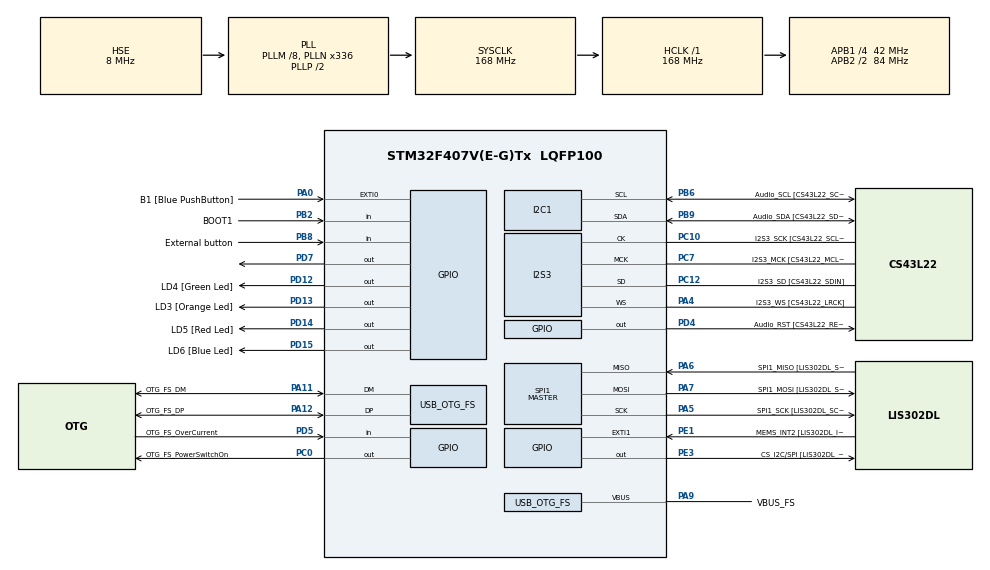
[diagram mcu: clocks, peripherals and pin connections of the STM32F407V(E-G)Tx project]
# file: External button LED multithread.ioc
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FREERTOS.Tasks01=defaultTask,24,128,StartDefaultTask,Default,NULL,Dynamic,NULL,NULL
FREERTOS.configUSE_NEWLIB_REENTRANT=1
I2S3.AudioFreq-Half_Duplex_Master=I2S_AUDIOFREQ_96K
I2S3.ErrorAudioFreq=-2.34 %
I2S3.ErrorAudioFreq-Half_Duplex_Master=0.8 %
I2S3.FullDuplexMode=I2S_FULLDUPLEXMODE_DISABLE
I2S3.Instance=SPI$Index
I2S3.RealAudioFreq=93.75 KHz
I2S3.RealAudioFreq-Half_Duplex_Master=96.774 KHz
I2S3.VirtualMode=I2S_MODE_MASTER
Mcu.Family=STM32F4
Mcu.Name=STM32F407V(E-G)Tx
Mcu.Package=LQFP100
NVIC.OTG_FS_IRQn=true\:5\:0\:false\:false\:true\:true\:true\:true\:true
NVIC.PriorityGroup=NVIC_PRIORITYGROUP_4
NVIC.TIM6_DAC_IRQn=true\:15\:0\:false\:false\:true\:false\:false\:true\:true
NVIC.TimeBase=TIM6_DAC_IRQn
NVIC.TimeBaseIP=TIM6
PA0-WKUP.GPIO_Label=B1 [Blue PushButton]
PA0-WKUP.GPIO_ModeDefaultEXTI=GPIO_MODE_EVT_RISING
PA0-WKUP.GPIO_PuPd=GPIO_NOPULL
PA0-WKUP.Signal=GPXTI0
PA10.GPIO_Label=OTG_FS_ID
PA10.GPIO_Mode=GPIO_MODE_AF_PP
PA10.GPIO_PuPd=GPIO_NOPULL
PA10.GPIO_Speed=GPIO_SPEED_FREQ_LOW
PA10.Signal=USB_OTG_FS_ID
PA11.GPIO_Label=OTG_FS_DM
PA11.GPIO_Mode=GPIO_MODE_AF_PP
PA11.GPIO_PuPd=GPIO_NOPULL
PA11.GPIO_Speed=GPIO_SPEED_FREQ_LOW
PA11.Mode=Host_Only
PA11.Signal=USB_OTG_FS_DM
PA12.GPIO_Label=OTG_FS_DP
PA12.GPIO_Mode=GPIO_MODE_AF_PP
PA12.GPIO_PuPd=GPIO_NOPULL
PA12.GPIO_Speed=GPIO_SPEED_FREQ_LOW
PA12.Mode=Host_Only
PA12.Signal=USB_OTG_FS_DP
PA13.GPIO_Label=SWDIO
PA13.Mode=Serial_Wire
PA13.Signal=SYS_JTMS-SWDIO
PA14.GPIO_Label=SWCLK
PA14.Mode=Serial_Wire
PA14.Signal=SYS_JTCK-SWCLK
PA4.GPIO_Label=I2S3_WS [CS43L22_LRCK]
PA4.GPIO_Mode=GPIO_MODE_AF_PP
PA4.GPIO_PuPd=GPIO_NOPULL
PA4.GPIO_Speed=GPIO_SPEED_FREQ_LOW
PA4.Mode=Half_Duplex_Master
PA4.Signal=I2S3_WS
PA5.GPIO_Label=SPI1_SCK [LIS302DL_SCL/SPC]
PA5.GPIO_Mode=GPIO_MODE_AF_PP
PA5.GPIO_PuPd=GPIO_NOPULL
PA5.GPIO_Speed=GPIO_SPEED_FREQ_LOW
PA5.Mode=Full_Duplex_Master
PA5.Signal=SPI1_SCK
PA6.GPIO_Label=SPI1_MISO [LIS302DL_SDO]
PA6.GPIO_Mode=GPIO_MODE_AF_PP
PA6.GPIO_PuPd=GPIO_NOPULL
PA6.GPIO_Speed=GPIO_SPEED_FREQ_LOW
PA6.Mode=Full_Duplex_Master
PA6.Signal=SPI1_MISO
PA7.GPIO_Label=SPI1_MOSI [LIS302DL_SDA/SDI/SDO]
PA7.GPIO_Mode=GPIO_MODE_AF_PP
PA7.GPIO_PuPd=GPIO_NOPULL
PA7.GPIO_Speed=GPIO_SPEED_FREQ_LOW
PA7.Mode=Full_Duplex_Master
PA7.Signal=SPI1_MOSI
PA9.GPIO_Label=VBUS_FS
PA9.GPIO_Mode=GPIO_MODE_INPUT
PA9.GPIO_PuPd=GPIO_NOPULL
PA9.Mode=Activate_VBUS
PA9.Signal=USB_OTG_FS_VBUS
PB10.GPIO_Label=CLK_IN [MP45DT02_CLK]
PB10.GPIO_Mode=GPIO_MODE_AF_PP
PB10.GPIO_PuPd=GPIO_NOPULL
PB10.GPIO_Speed=GPIO_SPEED_FREQ_LOW
PB10.Signal=I2S2_CK
PB2.GPIO_Label=BOOT1
PB2.GPIO_Mode=GPIO_MODE_INPUT
PB2.GPIO_PuPd=GPIO_NOPULL
PB2.Signal=GPIO_Input
PB3.GPIO_Label=SWO
PB3.Signal=SYS_JTDO-SWO
PB6.GPIO_Label=Audio_SCL [CS43L22_SCL]
PB6.GPIO_Mode=GPIO_MODE_AF_OD
PB6.GPIO_Pu=GPIO_PULLUP
PB6.GPIO_PuPd=GPIO_NOPULL
PB6.GPIO_Speed=GPIO_SPEED_FREQ_LOW
PB6.Mode=I2C
PB6.Signal=I2C1_SCL
PB8.GPIO_Label=External button
PB8.GPIO_PuPd=GPIO_PULLUP
PB8.Signal=GPIO_Input
PB9.GPIO_Label=Audio_SDA [CS43L22_SDA]
PB9.GPIO_Mode=GPIO_MODE_AF_OD
PB9.GPIO_Pu=GPIO_PULLUP
PB9.GPIO_PuPd=GPIO_NOPULL
PB9.GPIO_Speed=GPIO_SPEED_FREQ_LOW
PB9.Mode=I2C
PB9.Signal=I2C1_SDA
PC0.GPIO_Label=OTG_FS_PowerSwitchOn
PC0.GPIO_PuPd=GPIO_NOPULL
PC0.GPIO_Speed=GPIO_SPEED_FREQ_LOW
PC0.PinState=GPIO_PIN_SET
PC0.Signal=GPIO_Output
PC10.GPIO_Label=I2S3_SCK [CS43L22_SCLK]
PC10.GPIO_Mode=GPIO_MODE_AF_PP
PC10.GPIO_PuPd=GPIO_NOPULL
PC10.GPIO_Speed=GPIO_SPEED_FREQ_LOW
PC10.Mode=Half_Duplex_Master
PC10.Signal=I2S3_CK
PC12.GPIO_Label=I2S3_SD [CS43L22_SDIN]
PC12.GPIO_Mode=GPIO_MODE_AF_PP
PC12.GPIO_PuPd=GPIO_NOPULL
PC12.GPIO_Speed=GPIO_SPEED_FREQ_LOW
PC12.Mode=Half_Duplex_Master
PC12.Signal=I2S3_SD
PC14-OSC32_IN.GPIO_Label=PC14-OSC32_IN
PC14-OSC32_IN.Mode=LSE-External-Oscillator
PC14-OSC32_IN.Signal=RCC_OSC32_IN
PC15-OSC32_OUT.GPIO_Label=PC15-OSC32_OUT
PC15-OSC32_OUT.Mode=LSE-External-Oscillator
PC15-OSC32_OUT.Signal=RCC_OSC32_OUT
PC3.GPIO_Label=PDM_OUT [MP45DT02_DOUT]
PC3.GPIO_Mode=GPIO_MODE_AF_PP
PC3.GPIO_PuPd=GPIO_NOPULL
PC3.GPIO_Speed=GPIO_SPEED_FREQ_LOW
PC3.Signal=I2S2_SD
PC7.GPIO_Label=I2S3_MCK [CS43L22_MCLK]
PC7.GPIO_Mode=GPIO_MODE_AF_PP
PC7.GPIO_PuPd=GPIO_NOPULL
PC7.GPIO_Speed=GPIO_SPEED_FREQ_LOW
PC7.Mode=Master_Clock_Activated
PC7.Signal=I2S3_MCK
PD12.GPIO_Label=LD4 [Green Led]
PD12.GPIO_PuPd=GPIO_NOPULL
PD12.GPIO_Speed=GPIO_SPEED_FREQ_LOW
PD12.Signal=GPIO_Output
PD13.GPIO_Label=LD3 [Orange Led]
PD13.GPIO_PuPd=GPIO_NOPULL
PD13.GPIO_Speed=GPIO_SPEED_FREQ_LOW
PD13.Signal=GPIO_Output
PD14.GPIO_Label=LD5 [Red Led]
PD14.GPIO_PuPd=GPIO_NOPULL
PD14.GPIO_Speed=GPIO_SPEED_FREQ_LOW
PD14.Signal=GPIO_Output
PD15.GPIO_Label=LD6 [Blue Led]
PD15.GPIO_PuPd=GPIO_NOPULL
PD15.GPIO_Speed=GPIO_SPEED_FREQ_LOW
PD15.Signal=GPIO_Output
PD4.GPIO_Label=Audio_RST [CS43L22_RESET]
PD4.GPIO_PuPd=GPIO_NOPULL
PD4.GPIO_Speed=GPIO_SPEED_FREQ_LOW
PD4.Signal=GPIO_Output
PD5.GPIO_Label=OTG_FS_OverCurrent
PD5.GPIO_Mode=GPIO_MODE_INPUT
PD5.GPIO_PuPd=GPIO_NOPULL
PD5.Signal=GPIO_Input
PD7.PinState=GPIO_PIN_SET
PD7.Signal=GPIO_Output
PE1.GPIO_Label=MEMS_INT2 [LIS302DL_INT2]
PE1.GPIO_ModeDefaultEXTI=GPIO_MODE_EVT_RISING
PE1.GPIO_PuPd=GPIO_NOPULL
PE1.Signal=GPXTI1
PE3.GPIO_Label=CS_I2C/SPI [LIS302DL_CS_I2C/SPI]
PE3.GPIO_PuPd=GPIO_NOPULL
PE3.GPIO_Speed=GPIO_SPEED_FREQ_LOW
PE3.Signal=GPIO_Output
PH0-OSC_IN.GPIO_Label=PH0-OSC_IN
PH0-OSC_IN.Mode=HSE-External-Oscillator
PH0-OSC_IN.Signal=RCC_OSC_IN
PH1-OSC_OUT.GPIO_Label=PH1-OSC_OUT
PH1-OSC_OUT.Mode=HSE-External-Oscillator
PH1-OSC_OUT.Signal=RCC_OSC_OUT
ProjectManager.HeapSize=0x400
ProjectManager.StackSize=0x800
ProjectManager.TargetToolchain=STM32CubeIDE
RCC.48MHZClocksFreq_Value=48000000
RCC.AHBFreq_Value=168000000
RCC.APB1CLKDivider=RCC_HCLK_DIV4
RCC.APB1Freq_Value=42000000
RCC.APB1TimFreq_Value=84000000
RCC.APB2CLKDivider=RCC_HCLK_DIV2
RCC.APB2Freq_Value=84000000
RCC.APB2TimFreq_Value=168000000
RCC.CortexFreq_Value=168000000
RCC.HCLKFreq_Value=168000000
RCC.HSE_VALUE=8000000
RCC.HSI_VALUE=16000000
RCC.PLLM=8
RCC.PLLN=336
RCC.PLLQ=7
RCC.SYSCLKFreq_VALUE=168000000
RCC.SYSCLKSource=RCC_SYSCLKSOURCE_PLLCLK
RCC.VCOOutputFreq_Value=336000000
SPI1.BaudRatePrescaler-Full_Duplex_Master=SPI_BAUDRATEPRESCALER_2
SPI1.CalculateBaudRate-Full_Duplex_Master=42.0 MBits/s
SPI1.Direction=SPI_DIRECTION_2LINES
SPI1.Mode=SPI_MODE_MASTER
SPI1.Mode-Full_Duplex_Master=SPI_MODE_MASTER
SPI1.VirtualType=VM_MASTER
USB_HOST.BSP.number=1
USB_HOST.USBH_HandleTypeDef-CDC_FS=hUsbHostFS
USB_HOST.VirtualModeFS=Cdc
USB_HOST0.BSP.STBoard=false
USB_HOST0.BSP.api=Unknown
USB_HOST0.BSP.instance=PC0
USB_HOST0.BSP.ip=GPIO
USB_HOST0.BSP.mode=Output
USB_HOST0.BSP.name=Drive_VBUS_FS
USB_HOST0.BSP.solution=PC0
USB_OTG_FS.VirtualMode=Host_Only
USB_OTG_FS.phy_itface=HCD_PHY_EMBEDDED
VP_FREERTOS_VS_CMSIS_V2.Mode=CMSIS_V2
VP_SYS_VS_tim6.Mode=TIM6
VP_USB_HOST_VS_USB_HOST_CDC_FS.Mode=CDC_FS
board=STM32F407G-DISC1

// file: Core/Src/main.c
/* USER CODE BEGIN Header */
/**
 ******************************************************************************
 * @file           : main.c
 * @brief          : Main program body
 ******************************************************************************
 * @attention
 *
 * Copyright (c) 2025 STMicroelectronics.
 * All rights reserved.
 *
 * This software is licensed under terms that can be found in the LICENSE file
 * in the root directory of this software component.
 * If no LICENSE file comes with this software, it is provided AS-IS.
 *
 ******************************************************************************
 */
/* USER CODE END Header */
#include "main.h"
#include "cmsis_os.h"
#include "i2c.h"
#include "i2s.h"
#include "spi.h"
#include "usb_host.h"
#include "gpio.h"

void SystemClock_Config(void);
void MX_FREERTOS_Init(void);

int main(void)
{

  /* MCU Configuration--------------------------------------------------------*/

  /* Reset of all peripherals, Initializes the Flash interface and the Systick. */
  HAL_Init();

  /* Configure the system clock */
  SystemClock_Config();

  /* Initialize all configured peripherals */
  MX_GPIO_Init();
  MX_I2C1_Init();
  MX_I2S3_Init();
  MX_SPI1_Init();

  /* Init scheduler */
  osKernelInitialize();  /* Call init function for freertos objects (in cmsis_os2.c) */
  MX_FREERTOS_Init();

  /* Start scheduler */
  osKernelStart();

  /* We should never get here as control is now taken by the scheduler */

  /* Infinite loop */
    while (1) {

    }
}

void SystemClock_Config(void)
{
  RCC_OscInitTypeDef RCC_OscInitStruct = {0};
  RCC_ClkInitTypeDef RCC_ClkInitStruct = {0};

  /** Configure the main internal regulator output voltage
  */
  __HAL_RCC_PWR_CLK_ENABLE();
  __HAL_PWR_VOLTAGESCALING_CONFIG(PWR_REGULATOR_VOLTAGE_SCALE1);

  /** Initializes the RCC Oscillators according to the specified parameters
  * in the RCC_OscInitTypeDef structure.
  */
  RCC_OscInitStruct.OscillatorType = RCC_OSCILLATORTYPE_HSE;
  RCC_OscInitStruct.HSEState = RCC_HSE_ON;
  RCC_OscInitStruct.PLL.PLLState = RCC_PLL_ON;
  RCC_OscInitStruct.PLL.PLLSource = RCC_PLLSOURCE_HSE;
  RCC_OscInitStruct.PLL.PLLM = 8;
  RCC_OscInitStruct.PLL.PLLN = 336;
  RCC_OscInitStruct.PLL.PLLP = RCC_PLLP_DIV2;
  RCC_OscInitStruct.PLL.PLLQ = 7;
  if (HAL_RCC_OscConfig(&RCC_OscInitStruct) != HAL_OK)
  {
    Error_Handler();
  }

  /** Initializes the CPU, AHB and APB buses clocks
  */
  RCC_ClkInitStruct.ClockType = RCC_CLOCKTYPE_HCLK|RCC_CLOCKTYPE_SYSCLK
                              |RCC_CLOCKTYPE_PCLK1|RCC_CLOCKTYPE_PCLK2;
  RCC_ClkInitStruct.SYSCLKSource = RCC_SYSCLKSOURCE_PLLCLK;
  RCC_ClkInitStruct.AHBCLKDivider = RCC_SYSCLK_DIV1;
  RCC_ClkInitStruct.APB1CLKDivider = RCC_HCLK_DIV4;
  RCC_ClkInitStruct.APB2CLKDivider = RCC_HCLK_DIV2;

  if (HAL_RCC_ClockConfig(&RCC_ClkInitStruct, FLASH_LATENCY_5) != HAL_OK)
  {
    Error_Handler();
  }
}

void HAL_TIM_PeriodElapsedCallback(TIM_HandleTypeDef *htim)
{
  if (htim->Instance == TIM6)
  {
    HAL_IncTick();
  }
}

void Error_Handler(void)
{
  /* USER CODE BEGIN Error_Handler_Debug */
    /* User can add his own implementation to report the HAL error return state
     */
    __disable_irq();
    while (1) {
    }
  /* USER CODE END Error_Handler_Debug */
}
#ifdef USE_FULL_ASSERT
/**
  * @brief  Reports the name of the source file and the source line number
  *         where the assert_param error has occurred.
  * @param  file: pointer to the source file name
  * @param  line: assert_param error line source number
  * @retval None
  */
void assert_failed(uint8_t *file, uint32_t line)
{
  /* USER CODE BEGIN 6 */
    /* User can add his own implementation to report the file name and line
       number, ex: printf("Wrong parameters value: file %s on line %d\r\n",
       file, line) */
  /* USER CODE END 6 */
}
#endif /* USE_FULL_ASSERT */

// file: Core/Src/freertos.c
/* USER CODE BEGIN Header */
/**
 ******************************************************************************
 * File Name          : freertos.c
 * Description        : Code for freertos applications
 ******************************************************************************
 * @attention
 *
 * Copyright (c) 2025 STMicroelectronics.
 * All rights reserved.
 *
 * This software is licensed under terms that can be found in the LICENSE file
 * in the root directory of this software component.
 * If no LICENSE file comes with this software, it is provided AS-IS.
 *
 ******************************************************************************
 */
/* USER CODE END Header */

#include "FreeRTOS.h"

#include <stdbool.h>

#include "cmsis_os.h"
#include "main.h"
#include "task.h"

/* USER CODE BEGIN PD */
#define LED_PORT GPIOD
#define LED_PIN_GREEN GPIO_PIN_12
#define LED_PIN_ORANGE GPIO_PIN_13
#define LED_PIN_RED GPIO_PIN_14
#define LED_PIN_BLUE GPIO_PIN_15
#define LED_PIN_WHITE GPIO_PIN_7

#define BUTTON_PORT GPIOB
#define EXTERNAL_BUTTON_PIN GPIO_PIN_8
/* USER CODE END PD */

/* Definitions for defaultTask */
osThreadId_t defaultTaskHandle;
const osThreadAttr_t defaultTask_attributes = {
    .name = "defaultTask",
    .stack_size = 128 * 4,
    .priority = (osPriority_t)osPriorityNormal,
};

/* USER CODE BEGIN FunctionPrototypes */
osThreadId_t buttonTaskHandle;
const osThreadAttr_t buttonTask_attributes = {
    .name = "buttonTask",
    .stack_size = 128 * 4,
    .priority = (osPriority_t)osPriorityHigh,
};

void pin_on(GPIO_TypeDef* port, uint16_t pin) {
    HAL_GPIO_WritePin(port, pin, GPIO_PIN_SET);
}
void pin_off(GPIO_TypeDef* port, uint16_t pin) {
    HAL_GPIO_WritePin(port, pin, GPIO_PIN_RESET);
}
bool button_pressed(GPIO_TypeDef* port, uint16_t pin) {
    return HAL_GPIO_ReadPin(port, pin) == GPIO_PIN_SET;
}

void StartButtonTask(void* argument);
/* USER CODE END FunctionPrototypes */

void StartDefaultTask(void* argument);

extern void MX_USB_HOST_Init(void);
void MX_FREERTOS_Init(void); /* (MISRA C 2004 rule 8.1) */

void MX_FREERTOS_Init(void) {

    /* Create the thread(s) */
    /* creation of defaultTask */
    defaultTaskHandle =
        osThreadNew(StartDefaultTask, NULL, &defaultTask_attributes);

    /* USER CODE BEGIN RTOS_THREADS */
    /* add threads, ... */
    buttonTaskHandle =
        osThreadNew(StartButtonTask, NULL, &buttonTask_attributes);
    /* USER CODE END RTOS_THREADS */

}

void StartDefaultTask(void* argument) {
    /* init code for USB_HOST */
    MX_USB_HOST_Init();
    /* USER CODE BEGIN StartDefaultTask */
    TickType_t last = xTaskGetTickCount();
    const TickType_t period = pdMS_TO_TICKS(500);
    /* Infinite loop */
    for (;;) {
        pin_on(LED_PORT, LED_PIN_ORANGE);
        vTaskDelayUntil(&last, period);
        pin_off(LED_PORT, LED_PIN_ORANGE);
        vTaskDelayUntil(&last, period);
    }
    /* USER CODE END StartDefaultTask */
}

/* USER CODE BEGIN Application */

void StartButtonTask(void* argument) {
    while (1) {
        if (button_pressed(BUTTON_PORT, EXTERNAL_BUTTON_PIN)) {
            pin_on(LED_PORT, LED_PIN_WHITE);
        } else {
            pin_off(LED_PORT, LED_PIN_WHITE);
        }
        vTaskDelay(pdMS_TO_TICKS(5));
    }
}

/* USER CODE END Application */
